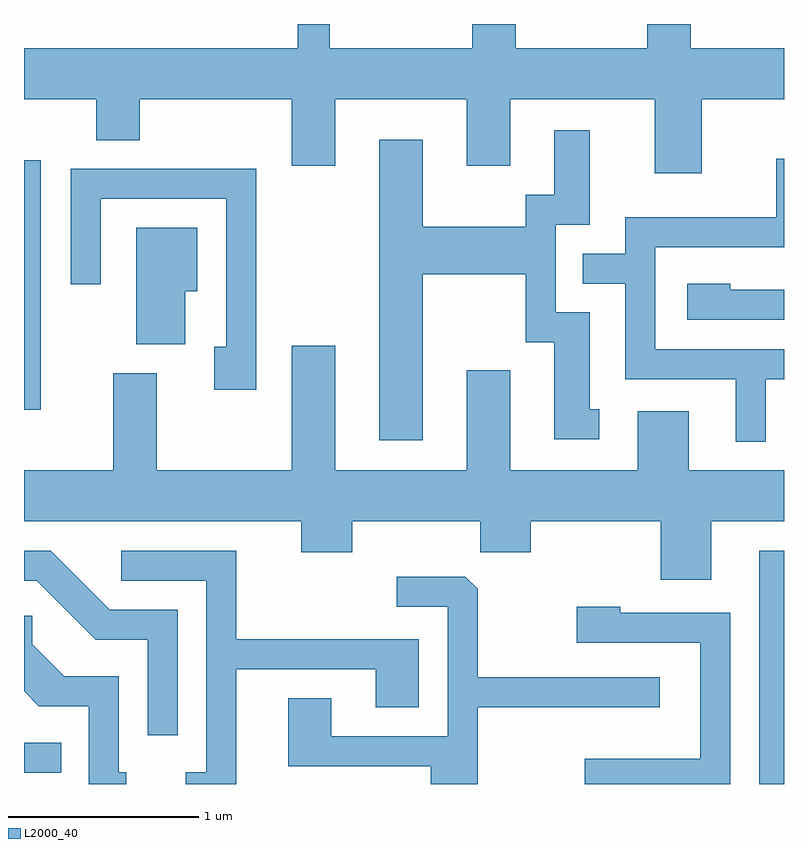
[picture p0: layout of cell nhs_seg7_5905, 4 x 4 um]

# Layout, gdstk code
import gdstk
lib = gdstk.Library(unit=1e-6, precision=1e-09)
def R(c, l, rs):  # rectangles x0, y0, x1, y1
    for r in rs: c.add(gdstk.rectangle(r[:2], r[2:], *l))
def P(c, l, *ps):  # polygons
    for p in ps: c.add(gdstk.Polygon(p, *l))
L2000_40 = (2000, 40)

nhs_seg7_5905 = lib.new_cell('nhs_seg7_5905')
R(nhs_seg7_5905, L2000_40, [(369.481,1726.252,369.611,1727.479), (365.611,1726.311,365.808,1726.469), (365.611,1728.221,365.699,1729.534)])
P(nhs_seg7_5905, L2000_40, [(369.179,1729.856),(369.611,1729.856),(369.611,1730.124),(369.119,1730.124),(369.119,1730.252),(368.891,1730.252),(368.891,1730.124),(368.199,1730.124),(368.199,1730.252),(367.971,1730.252),(367.971,1730.124),(367.219,1730.124),(367.219,1730.252),(367.051,1730.252),(367.051,1730.124),(365.611,1730.124),(365.611,1729.856),(365.991,1729.856),(365.991,1729.641),(366.219,1729.641),(366.219,1729.856),(367.021,1729.856),(367.021,1729.506),(367.249,1729.506),(367.249,1729.856),(367.941,1729.856),(367.941,1729.506),(368.169,1729.506),(368.169,1729.856),(368.931,1729.856),(368.931,1729.466),(369.179,1729.466)],
  [(367.709,1728.936),(368.251,1728.936),(368.251,1728.576),(368.401,1728.576),(368.401,1728.066),(368.638,1728.066),(368.638,1728.224),(368.589,1728.224),(368.589,1728.734),(368.409,1728.734),(368.409,1729.196),(368.589,1729.196),(368.589,1729.694),(368.401,1729.694),(368.401,1729.354),(368.251,1729.354),(368.251,1729.184),(367.709,1729.184),(367.709,1729.644),(367.481,1729.644),(367.481,1728.061),(367.709,1728.061)],
  [(369.514,1728.381),(369.611,1728.381),(369.611,1728.539),(368.934,1728.539),(368.934,1729.076),(369.611,1729.076),(369.611,1729.544),(369.571,1729.544),(369.571,1729.234),(368.776,1729.234),(368.776,1729.044),(368.553,1729.044),(368.553,1728.886),(368.776,1728.886),(368.776,1728.381),(369.356,1728.381),(369.356,1728.053),(369.514,1728.053)],
  [(366.834,1729.489),(365.856,1729.489),(365.856,1728.883),(366.014,1728.883),(366.014,1729.331),(366.676,1729.331),(366.676,1728.554),(366.611,1728.554),(366.611,1728.326),(366.834,1728.326)],
  [(366.459,1728.846),(366.524,1728.846),(366.524,1729.179),(366.201,1729.179),(366.201,1728.566),(366.459,1728.566)],
  [(369.611,1728.854),(369.329,1728.854),(369.329,1728.884),(369.101,1728.884),(369.101,1728.696),(369.611,1728.696)],
  [(367.071,1727.471),(367.339,1727.471),(367.339,1727.636),(368.011,1727.636),(368.011,1727.471),(368.279,1727.471),(368.279,1727.636),(368.961,1727.636),(368.961,1727.326),(369.229,1727.326),(369.229,1727.636),(369.611,1727.636),(369.611,1727.904),(369.109,1727.904),(369.109,1728.214),(368.841,1728.214),(368.841,1727.904),(368.169,1727.904),(368.169,1728.429),(367.941,1728.429),(367.941,1727.904),(367.249,1727.904),(367.249,1728.559),(367.021,1728.559),(367.021,1727.904),(366.309,1727.904),(366.309,1728.414),(366.081,1728.414),(366.081,1727.904),(365.611,1727.904),(365.611,1727.636),(367.071,1727.636)],
  [(366.729,1726.856),(367.461,1726.856),(367.461,1726.656),(367.689,1726.656),(367.689,1727.014),(366.729,1727.014),(366.729,1727.479),(366.123,1727.479),(366.123,1727.321),(366.571,1727.321),(366.571,1726.314),(366.461,1726.314),(366.461,1726.252),(366.729,1726.252)],
  [(366.419,1727.169),(366.062,1727.169),(365.752,1727.479),(365.611,1727.479),(365.611,1727.321),(365.679,1727.321),(365.989,1727.011),(366.261,1727.011),(366.261,1726.508),(366.419,1726.508)],
  [(367.999,1726.656),(368.958,1726.656),(368.958,1726.814),(367.999,1726.814),(367.999,1727.279),(367.934,1727.344),(367.573,1727.344),(367.573,1727.186),(367.841,1727.186),(367.841,1726.504),(367.229,1726.504),(367.229,1726.704),(367.001,1726.704),(367.001,1726.346),(367.751,1726.346),(367.751,1726.252),(367.999,1726.252)],
  [(369.329,1727.154),(368.749,1727.154),(368.749,1727.184),(368.521,1727.184),(368.521,1726.996),(369.171,1726.996),(369.171,1726.384),(368.561,1726.384),(368.561,1726.252),(369.329,1726.252)],
  [(366.149,1726.314),(366.109,1726.314),(366.109,1726.819),(365.822,1726.819),(365.654,1726.987),(365.654,1727.138),(365.611,1727.138),(365.611,1726.739),(365.689,1726.661),(365.951,1726.661),(365.951,1726.252),(366.149,1726.252)])

lib.write_gds('nhs_seg7_5905.gds')
